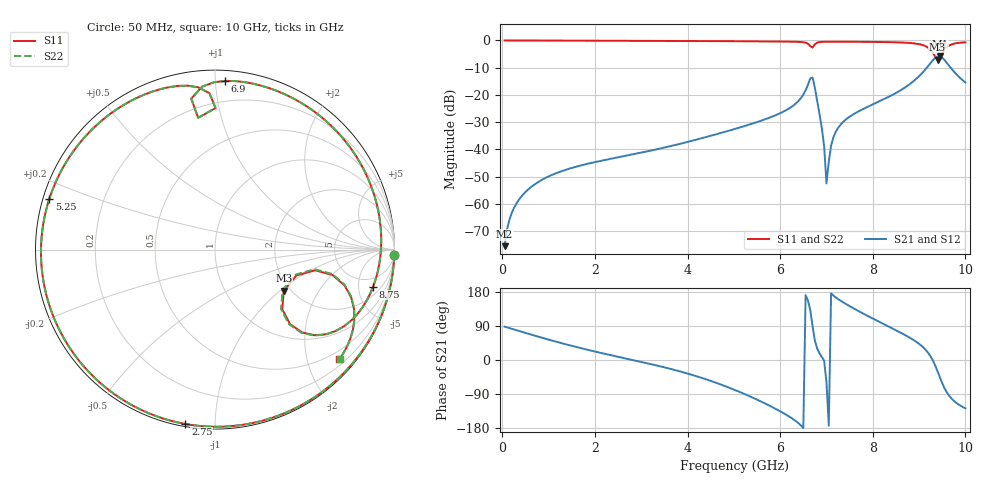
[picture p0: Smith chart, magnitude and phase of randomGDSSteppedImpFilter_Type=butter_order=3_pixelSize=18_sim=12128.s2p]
! freq	dB(S11)	phase(S11)	dB(S12)	phase(S12)
!  dB(S21)	phase(S21)	dB(S22)	phase(S22)
!S-par simulation data
#  GHz  S  DB  R 50
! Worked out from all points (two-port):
!   200 points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, 50 MHz to 10 GHz, reference 50 ohm
!   highest |S21| = -5.84 dB at 9.45 GHz (marker M1); lowest = -75.5 dB at 50 MHz (marker M2)
!   |S21| within 3 dB of the highest: 9.222 GHz to 9.628 GHz (406.2 MHz wide, 4.31 % of centre)
!   lowest |S11| = -7.0 dB at 9.4 GHz (marker M3), VSWR 2.61, Z = 92.4 - j52.9 ohm
!   |S11| at or under -10 dB: nowhere
!   |S22| runs from -7.1 to 0.0 dB; largest |S21 - S12| = 0
!   S11 on the Smith chart (normalised r, x): 50 MHz: 1, -61; 2.75 GHz: 0.01, -0.84; 5.25 GHz: 0.02, +0.15; 6.9 GHz: 0.06, +1.06; 8.75 GHz: 3.20, -7.29; 10 GHz: 0.31, -2.61
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0.05  -0.00 -1.9  -75.52 88.0  -75.52 88.0  -0.00 -1.9
0.2  -0.01 -7.4  -63.50 82.5  -63.50 82.5  -0.01 -7.4
0.5  -0.02 -18.4  -55.64 71.5  -55.64 71.5  -0.02 -18.4
1.75  -0.08 -63.8  -45.65 29.7  -45.65 29.7  -0.08 -63.8
2.75  -0.13 -99.6  -42.06 1.7  -42.06 1.7  -0.13 -99.6
3.4  -0.16 -123.2  -39.72 -16.3  -39.72 -16.3  -0.16 -123.2
5.05  -0.29 171.7  -32.35 -80.5  -32.35 -80.5  -0.29 171.8
5.25  -0.31 162.9  -31.33 -90.8  -31.33 -90.8  -0.31 163.0
6.3  -0.47 111.6  -23.68 -157.7  -23.68 -157.7  -0.47 111.6
6.7  -2.62 97.3  -13.62 88.8  -13.62 88.8  -2.61 97.3
6.9  -0.52 86.6  -32.19 8.1  -32.19 8.1  -0.52 86.6
6.95  -0.49 83.3  -38.92 -1.9  -38.92 -1.9  -0.49 83.3
7  -0.47 80.1  -52.47 -58.4  -52.47 -58.4  -0.47 80.1
7.1  -0.45 74.2  -38.58 175.9  -38.58 175.9  -0.46 74.2
7.25  -0.46 65.7  -32.12 160.9  -32.12 160.9  -0.46 65.7
8.35  -0.62 7.6  -20.65 87.8  -20.65 87.8  -0.62 7.5
8.75  -0.87 -13.1  -16.65 62.3  -16.65 62.3  -0.87 -13.3
9.2  -2.72 -40.7  -9.31 18.2  -9.31 18.2  -2.74 -41.0
9.4  -7.01 -30.9  -5.85 -30.2  -5.85 -30.2  -7.14 -31.0
9.45  -6.45 -17.7  -5.84 -46.2  -5.84 -46.2  -6.57 -17.3
9.65  -1.88 -19.4  -9.32 -94.3  -9.32 -94.3  -1.90 -19.1
10  -0.69 -41.4  -15.43 -127.6  -15.43 -127.6  -0.69 -41.3
